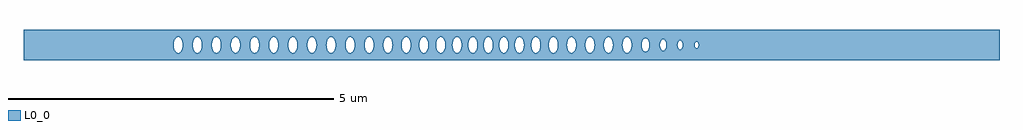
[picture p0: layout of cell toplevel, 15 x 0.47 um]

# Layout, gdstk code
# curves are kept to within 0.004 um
import gdstk
lib = gdstk.Library(unit=1e-6, precision=1e-09)
def P(c, l, *ps):  # polygons
    for p in ps: c.add(gdstk.Polygon(p, *l))
L0_0 = (0, 0)

toplevel = lib.new_cell('toplevel')
P(toplevel, L0_0, [(-4.605,0.016),(-4.59,0.078),(-4.59,0.235),(-7.5,0.235),(-7.5,-0.016),(-5.193,-0.016),(-5.19,0.038),(-5.18,0.073),(-5.157,0.109),(-5.127,0.124),(-5.101,0.118),(-5.071,0.085),(-5.054,0.031),(-5.053,-0.016),(-4.899,-0.016),(-4.896,0.038),(-4.886,0.073),(-4.863,0.109),(-4.833,0.124),(-4.807,0.118),(-4.784,0.096),(-4.763,0.046),(-4.758,0),(-4.763,-0.046),(-4.778,-0.085),(-4.795,-0.109),(-4.825,-0.124),(-4.851,-0.118),(-4.874,-0.096),(-4.891,-0.06),(-4.899,-0.016),(-5.053,-0.016),(-5.057,-0.046),(-5.074,-0.09),(-5.089,-0.109),(-5.118,-0.124),(-5.144,-0.118),(-5.168,-0.096),(-5.18,-0.073),(-5.193,-0.016),(-7.5,-0.016),(-7.5,-0.235),(-4.59,-0.235),(-4.59,-0.079),(-4.601,-0.046)],
  [(-4.587,0.085),(-4.557,0.118),(-4.54,0.124),(-4.522,0.122),(-4.497,0.105),(-4.478,0.073),(-4.468,0.038),(-4.465,-0.008),(-4.312,-0.008),(-4.309,0.038),(-4.29,0.09),(-4.263,0.118),(-4.246,0.124),(-4.228,0.122),(-4.204,0.105),(-4.187,0.079),(-4.173,0.031),(-4.171,-0.008),(-4.176,-0.046),(-4.19,-0.085),(-4.208,-0.109),(-4.237,-0.124),(-4.263,-0.118),(-4.29,-0.09),(-4.307,-0.046),(-4.312,-0.008),(-4.465,-0.008),(-4.478,-0.073),(-4.49,-0.096),(-4.513,-0.118),(-4.531,-0.124),(-4.557,-0.118),(-4.59,-0.079),(-4.59,-0.235),(-3.952,-0.235),(-3.952,-0.124),(-3.97,-0.118),(-3.993,-0.096),(-4.01,-0.06),(-4.018,-0.016),(-4.015,0.038),(-4.005,0.073),(-3.982,0.109),(-3.952,0.124),(-3.952,0.235),(-4.59,0.235)],
  [(-3.43,0.016),(-3.412,0.085),(-3.391,0.112),(-3.374,0.122),(-3.356,0.124),(-3.339,0.118),(-3.319,0.1),(-3.304,0.073),(-3.304,0.235),(-3.952,0.235),(-3.952,0.124),(-3.926,0.118),(-3.903,0.096),(-3.882,0.046),(-3.878,-0.008),(-3.725,-0.008),(-3.72,0.046),(-3.706,0.085),(-3.688,0.109),(-3.659,0.124),(-3.632,0.118),(-3.609,0.096),(-3.592,0.06),(-3.584,0.016),(-3.587,-0.038),(-3.597,-0.073),(-3.62,-0.109),(-3.65,-0.124),(-3.676,-0.118),(-3.699,-0.096),(-3.716,-0.06),(-3.725,-0.008),(-3.878,-0.008),(-3.882,-0.046),(-3.903,-0.096),(-3.926,-0.118),(-3.952,-0.124),(-3.952,-0.235),(-3.304,-0.235),(-3.304,-0.073),(-3.323,-0.105),(-3.347,-0.122),(-3.374,-0.122),(-3.391,-0.112),(-3.412,-0.085),(-3.422,-0.06),(-3.43,-0.023)],
  [(-3.304,0.235),(-3.304,0.072),(-3.293,0.038),(-3.291,-0.016),(-3.137,-0.016),(-3.134,0.038),(-3.124,0.073),(-3.101,0.109),(-3.071,0.124),(-3.045,0.118),(-3.015,0.085),(-3.001,0.046),(-2.996,0),(-2.844,0),(-2.839,0.046),(-2.824,0.085),(-2.807,0.109),(-2.778,0.124),(-2.751,0.118),(-2.728,0.096),(-2.711,0.06),(-2.703,0.016),(-2.706,-0.038),(-2.716,-0.073),(-2.739,-0.109),(-2.769,-0.124),(-2.795,-0.118),(-2.818,-0.096),(-2.839,-0.046),(-2.844,0),(-2.996,0),(-3.001,-0.046),(-3.015,-0.085),(-3.033,-0.109),(-3.062,-0.124),(-3.089,-0.118),(-3.112,-0.096),(-3.129,-0.06),(-3.137,-0.016),(-3.291,-0.016),(-3.304,-0.073),(-3.304,-0.235),(-2.55,-0.235),(-2.55,0.235)],
  [(-1.968,0.023),(-1.961,0.06),(-1.94,0.1),(-1.94,0.235),(-2.55,0.235),(-2.55,0.008),(-2.545,0.046),(-2.531,0.085),(-2.513,0.109),(-2.484,0.124),(-2.449,0.112),(-2.428,0.085),(-2.412,0.038),(-2.41,-0.016),(-2.257,-0.016),(-2.254,0.038),(-2.244,0.073),(-2.221,0.109),(-2.191,0.124),(-2.165,0.118),(-2.142,0.096),(-2.125,0.06),(-2.117,0.016),(-2.121,-0.046),(-2.13,-0.073),(-2.153,-0.109),(-2.183,-0.124),(-2.209,-0.118),(-2.232,-0.096),(-2.249,-0.06),(-2.257,-0.016),(-2.41,-0.016),(-2.422,-0.073),(-2.438,-0.1),(-2.466,-0.122),(-2.493,-0.122),(-2.513,-0.109),(-2.531,-0.085),(-2.545,-0.046),(-2.55,-0.008),(-2.55,-0.235),(-1.94,-0.235),(-1.94,-0.1),(-1.963,-0.053)],
  [(-1.933,0.109),(-1.912,0.122),(-1.894,0.124),(-1.861,0.105),(-1.833,0.046),(-1.829,-0.008),(-1.689,-0.008),(-1.686,0.038),(-1.667,0.09),(-1.64,0.118),(-1.623,0.124),(-1.605,0.122),(-1.581,0.105),(-1.564,0.079),(-1.55,0.031),(-1.548,-0.008),(-1.553,-0.046),(-1.567,-0.085),(-1.585,-0.109),(-1.614,-0.124),(-1.645,-0.115),(-1.667,-0.09),(-1.684,-0.046),(-1.689,-0.008),(-1.829,-0.008),(-1.839,-0.066),(-1.865,-0.109),(-1.886,-0.122),(-1.903,-0.124),(-1.921,-0.118),(-1.94,-0.1),(-1.94,-0.235),(-1.326,-0.235),(-1.326,-0.118),(-1.357,-0.123),(-1.386,-0.105),(-1.41,-0.06),(-1.418,-0.016),(-1.412,0.053),(-1.393,0.096),(-1.361,0.122),(-1.326,0.118),(-1.326,0.235),(-1.94,0.235),(-1.94,0.1)],
  [(-0.907,0.016),(-0.899,0.06),(-0.882,0.096),(-0.859,0.118),(-0.842,0.124),(-0.824,0.122),(-0.799,0.105),(-0.78,0.073),(-0.77,0.038),(-0.77,0.235),(-1.326,0.235),(-1.326,0.118),(-1.303,0.096),(-1.288,0.066),(-1.278,-0.016),(-1.158,-0.016),(-1.155,0.038),(-1.145,0.073),(-1.122,0.109),(-1.092,0.124),(-1.066,0.118),(-1.039,0.09),(-1.022,0.046),(-1.017,0.008),(-1.019,-0.031),(-1.033,-0.079),(-1.054,-0.109),(-1.083,-0.124),(-1.109,-0.118),(-1.133,-0.096),(-1.145,-0.073),(-1.158,-0.016),(-1.278,-0.016),(-1.291,-0.073),(-1.303,-0.096),(-1.326,-0.118),(-1.326,-0.235),(-0.77,-0.235),(-0.77,-0.039),(-0.78,-0.073),(-0.803,-0.109),(-0.828,-0.123),(-0.855,-0.12),(-0.879,-0.1),(-0.897,-0.066)],
  [(-0.768,-0.023),(-0.77,-0.235),(-0.178,-0.235),(-0.178,-0.066),(-0.189,-0.016),(-0.187,0.031),(-0.178,0.065),(-0.178,0.235),(-0.77,0.235),(-0.767,-0.008),(-0.665,-0.008),(-0.66,0.046),(-0.646,0.085),(-0.616,0.118),(-0.59,0.124),(-0.56,0.109),(-0.537,0.073),(-0.527,0.038),(-0.524,-0.016),(-0.426,-0.016),(-0.42,0.053),(-0.394,0.105),(-0.36,0.124),(-0.343,0.122),(-0.322,0.109),(-0.294,0.06),(-0.286,-0.016),(-0.304,-0.085),(-0.338,-0.12),(-0.369,-0.122),(-0.394,-0.105),(-0.418,-0.06),(-0.426,-0.016),(-0.524,-0.016),(-0.537,-0.073),(-0.549,-0.096),(-0.572,-0.118),(-0.59,-0.124),(-0.616,-0.118),(-0.639,-0.096),(-0.656,-0.06),(-0.665,-0.008),(-0.767,-0.008)],
  [(0.305,0.016),(0.309,0.046),(0.326,0.09),(0.341,0.109),(0.37,0.124),(0.37,0.235),(-0.178,0.235),(-0.178,0.066),(-0.164,0.096),(-0.145,0.115),(-0.123,0.124),(-0.097,0.118),(-0.074,0.096),(-0.059,0.066),(-0.049,0.023),(-0.049,-0.016),(0.052,-0.016),(0.055,0.038),(0.065,0.073),(0.088,0.109),(0.118,0.124),(0.144,0.118),(0.167,0.096),(0.184,0.06),(0.193,0.008),(0.188,-0.046),(0.177,-0.079),(0.156,-0.109),(0.127,-0.124),(0.1,-0.118),(0.077,-0.096),(0.06,-0.06),(0.052,-0.016),(-0.049,-0.016),(-0.053,-0.046),(-0.07,-0.09),(-0.085,-0.109),(-0.114,-0.124),(-0.132,-0.122),(-0.153,-0.109),(-0.178,-0.067),(-0.178,-0.235),(0.37,-0.235),(0.37,-0.124),(0.341,-0.109),(0.32,-0.079),(0.306,-0.031)],
  [(0.444,-0.016),(0.436,-0.06),(0.42,-0.096),(0.396,-0.118),(0.37,-0.124),(0.37,-0.235),(0.971,-0.235),(0.971,-0.09),(0.957,-0.109),(0.936,-0.122),(0.918,-0.124),(0.901,-0.118),(0.868,-0.079),(0.852,-0.008),(0.861,0.06),(0.889,0.109),(0.909,0.122),(0.936,0.122),(0.957,0.109),(0.971,0.09),(0.971,0.235),(0.37,0.235),(0.37,0.124),(0.396,0.118),(0.42,0.096),(0.44,0.046),(0.445,0),(0.572,0),(0.577,0.046),(0.591,0.085),(0.609,0.109),(0.638,0.124),(0.656,0.122),(0.677,0.109),(0.705,0.06),(0.713,0.016),(0.707,-0.053),(0.688,-0.096),(0.656,-0.122),(0.625,-0.12),(0.598,-0.096),(0.577,-0.046),(0.572,0),(0.445,0)],
  [(0.971,0.235),(0.971,0.09),(0.99,0.038),(0.993,-0.016),(1.136,-0.016),(1.139,0.038),(1.149,0.073),(1.172,0.109),(1.202,0.124),(1.228,0.118),(1.251,0.096),(1.272,0.046),(1.276,-0.008),(1.419,-0.008),(1.422,0.038),(1.432,0.073),(1.459,0.112),(1.485,0.124),(1.511,0.118),(1.538,0.09),(1.555,0.046),(1.56,0.008),(1.558,-0.031),(1.544,-0.079),(1.523,-0.109),(1.494,-0.124),(1.468,-0.118),(1.441,-0.09),(1.424,-0.046),(1.419,-0.008),(1.276,-0.008),(1.272,-0.046),(1.251,-0.096),(1.228,-0.118),(1.21,-0.124),(1.184,-0.118),(1.161,-0.096),(1.144,-0.06),(1.136,-0.016),(0.993,-0.016),(0.971,-0.09),(0.971,-0.235),(1.705,-0.235),(1.705,0.235)],
  [(2.282,0.017),(2.292,0.057),(2.31,0.081),(2.31,0.235),(1.705,0.235),(1.705,0.008),(1.71,0.046),(1.724,0.085),(1.742,0.109),(1.771,0.124),(1.798,0.118),(1.821,0.096),(1.843,0.038),(1.846,-0.013),(1.999,-0.013),(2.003,0.039),(2.015,0.073),(2.037,0.099),(2.06,0.107),(2.082,0.099),(2.101,0.078),(2.12,0.013),(2.111,-0.057),(2.092,-0.09),(2.071,-0.105),(2.048,-0.105),(2.027,-0.09),(2.008,-0.057),(1.999,-0.013),(1.846,-0.013),(1.837,-0.06),(1.821,-0.096),(1.798,-0.118),(1.78,-0.124),(1.754,-0.118),(1.731,-0.096),(1.714,-0.06),(1.705,-0.008),(1.705,-0.235),(2.31,-0.235),(2.31,-0.081),(2.292,-0.057),(2.284,-0.033)],
  [(2.319,0.086),(2.341,0.088),(2.364,0.069),(2.379,0.033),(2.382,-0.009),(2.551,-0.009),(2.56,0.046),(2.574,0.065),(2.589,0.072),(2.607,0.067),(2.618,0.055),(2.628,0.031),(2.632,-0.003),(2.813,-0.003),(2.824,0.042),(2.836,0.053),(2.848,0.054),(2.868,0.035),(2.875,-0.007),(2.864,-0.042),(2.854,-0.052),(2.84,-0.054),(2.82,-0.035),(2.813,-0.003),(2.632,-0.003),(2.623,-0.046),(2.607,-0.067),(2.594,-0.072),(2.57,-0.061),(2.557,-0.038),(2.551,-0.009),(2.382,-0.009),(2.376,-0.043),(2.359,-0.075),(2.335,-0.089),(2.31,-0.081),(2.31,-0.235),(7.5,-0.235),(7.5,0.235),(2.31,0.235),(2.31,0.081)])

lib.write_gds('toplevel.gds')
